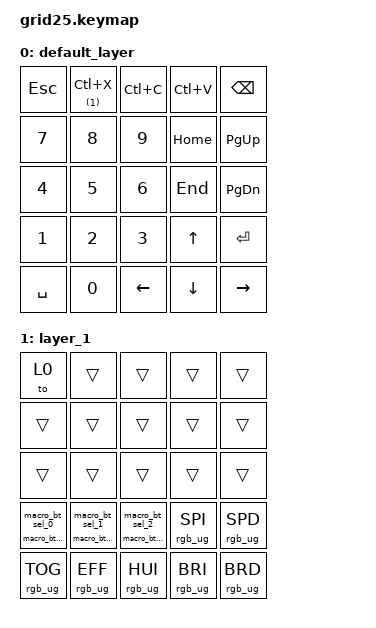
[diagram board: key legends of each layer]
// This file was generated from a template. Edit it to match your keyboard.
// See https://zmk.dev/docs/development/hardware-integration/new-shield for more instructions.

#include <behaviors.dtsi>
#include <dt-bindings/zmk/bt.h>
#include <dt-bindings/zmk/keys.h>
#include <dt-bindings/zmk/rgb.h>

/ {
    combos {
        compatible = "zmk,combos";



        combo_bootloader {
            timeout-ms = <50>;
            require-prior-idle-ms = <50>;
            key-positions = <0 1>;
            bindings = <&bootloader>;
        };
    };


    // 蓝牙清空
macros {
        // ====== 设备 0 ======
        macro_bt_sel_0: macro_bt_sel_0 {
            compatible = "zmk,behavior-macro";
            #binding-cells = <0>;
            bindings = <&bt BT_SEL 0>;
        };
        macro_bt_clr_0: macro_bt_clr_0 {
            compatible = "zmk,behavior-macro";
            #binding-cells = <0>;
            wait-ms = <20>;
            bindings = <&bt BT_SEL 0>, <&bt BT_CLR>;
        };

        // ====== 设备 1 ======
        macro_bt_sel_1: macro_bt_sel_1 {
            compatible = "zmk,behavior-macro";
            #binding-cells = <0>;
            bindings = <&bt BT_SEL 1>;
        };
        macro_bt_clr_1: macro_bt_clr_1 {
            compatible = "zmk,behavior-macro";
            #binding-cells = <0>;
            wait-ms = <20>;
            bindings = <&bt BT_SEL 1>, <&bt BT_CLR>;
        };

        // ====== 设备 2 ======
        macro_bt_sel_2: macro_bt_sel_2 {
            compatible = "zmk,behavior-macro";
            #binding-cells = <0>;
            bindings = <&bt BT_SEL 2>;
        };
        macro_bt_clr_2: macro_bt_clr_2 {
            compatible = "zmk,behavior-macro";
            #binding-cells = <0>;
            wait-ms = <20>;
            bindings = <&bt BT_SEL 2>, <&bt BT_CLR>;
        };
    };
    behaviors {
        ht_bt_0: ht_bt_0 {
            compatible = "zmk,behavior-hold-tap";
            #binding-cells = <2>; // 强制改为 2
            flavor = "hold-preferred";
            tapping-term-ms = <250>;
            bindings = <&macro_bt_clr_0>, <&macro_bt_sel_0>; 
        };

        ht_bt_1: ht_bt_1 {
            compatible = "zmk,behavior-hold-tap";
            #binding-cells = <2>; // 强制改为 2
            flavor = "hold-preferred";
            tapping-term-ms = <250>;
            bindings = <&macro_bt_clr_1>, <&macro_bt_sel_1>;
        };

        ht_bt_2: ht_bt_2 {
            compatible = "zmk,behavior-hold-tap";
            #binding-cells = <2>; // 强制改为 2
            flavor = "hold-preferred";
            tapping-term-ms = <250>;
            bindings = <&macro_bt_clr_2>, <&macro_bt_sel_2>;
        };
    };

    // Define a default keymap here.
    // See https://zmk.dev/docs/development/hardware-integration/new-shield#default-keymap.

    keymap {
        compatible = "zmk,keymap";

        default_layer {
            bindings = <
&kp ESC  &lt (1) LC(X)  &kp LC(C)  &kp LC(V)  &kp BACKSPACE  &kp N7  &kp N8  &kp N9  &kp HOME  &kp PG_UP  &kp NUMBER_4  &kp N5  &kp NUMBER_6  &kp END  &kp PG_DN  &kp NUMBER_1  &kp NUMBER_2  &kp NUMBER_3  &kp UP_ARROW  &kp ENTER  &kp SPACE  &kp N0  &kp LEFT_ARROW  &kp DOWN_ARROW  &kp RIGHT_ARROW
            >;
        };

        layer_1 {
            bindings = <
&to 0  &trans  &trans  &trans  &trans  &trans  &trans  &trans  &trans  &trans  &trans  &trans  &trans  &trans  &trans  &ht_bt_0 0 0  &ht_bt_1 0 0  &ht_bt_2 0 0  &rgb_ug RGB_SPI  &rgb_ug RGB_SPD  &rgb_ug RGB_TOG  &rgb_ug RGB_EFF  &rgb_ug RGB_HUI  &rgb_ug RGB_BRI  &rgb_ug RGB_BRD
            >;
        };
    };
};
